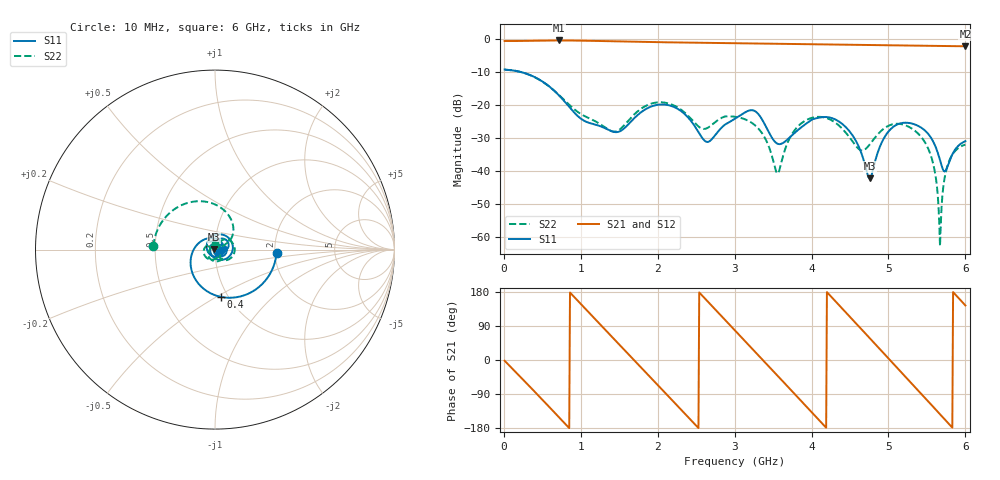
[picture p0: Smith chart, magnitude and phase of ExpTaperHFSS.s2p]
! Touchstone file from project TaperedLine_and_RadialStub
! Exported from HFSS 2018.0.0
! Variables:
!  $h = 62mil
!  $t = 0.7mil
!  h = 62mil
!  lam = 65.346mm
!  t = 0.7mil
!  w = 2.99067mm
!  w5 = 0.6694mm
!  z0 = 50
!  zL = 100
!Data is not renormalized
# GHZ S MA
! Modal data exported
! Port[1] = 1:1
! Port[2] = 2:1
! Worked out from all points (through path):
!   600 points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, 10 MHz to 6 GHz, reference per port
!   highest |S21| = -0.40 dB at 720 MHz (marker M1); lowest = -2.2 dB at 6 GHz (marker M2)
!   group delay of S21, straight-line fit = 600 ps
!   lowest |S11| = -42.3 dB at 4.76 GHz (marker M3), VSWR 1.02
!   |S11| at or under -10 dB: 225.1 MHz to end of sweep
!   |S22| runs from -62.8 to -9.2 dB; largest |S21 - S12| = 7e-14
!   S11 on the Smith chart (normalised r, x): 10 MHz: 2.05, -0.09; 400 MHz: 0.93, -0.52; 6 GHz: 1.06, -0.01
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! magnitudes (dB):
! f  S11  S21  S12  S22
! 10 MHz  -9.2  -0.6  -0.6  -9.2
! 400 MHz  -11.5  -0.5  -0.5  -11.6
! 720 MHz  -17.2  -0.4  -0.4  -17.0
! 1.01 GHz  -24.3  -0.5  -0.5  -22.8
! 1.45 GHz  -28.2  -0.6  -0.6  -28.1
! 2.01 GHz  -19.9  -0.9  -0.9  -19.2
! 2.31 GHz  -21.9  -1.0  -1.0  -21.5
! 2.64 GHz  -31.2  -1.1  -1.1  -27.0
! 3.01 GHz  -24.1  -1.2  -1.2  -23.6
! 3.27 GHz  -21.9  -1.3  -1.3  -26.3
! 3.56 GHz  -31.8  -1.4  -1.4  -40.8
! 3.75 GHz  -29.1  -1.5  -1.5  -28.7
! 4.01 GHz  -24.4  -1.6  -1.6  -23.8
! 4.44 GHz  -26.6  -1.7  -1.7  -28.2
! 4.63 GHz  -33.5  -1.8  -1.8  -33.6
! 4.76 GHz  -42.3  -1.8  -1.8  -31.9
! 5.01 GHz  -27.8  -1.9  -1.9  -26.2
! 5.48 GHz  -27.9  -2.0  -2.0  -31.5
! 5.59 GHz  -31.5  -2.0  -2.0  -38.7
! 5.67 GHz  -36.7  -2.1  -2.1  -62.8
! 5.78 GHz  -37.9  -2.1  -2.1  -37.5
! 6 GHz  -31.0  -2.2  -2.2  -32.0
